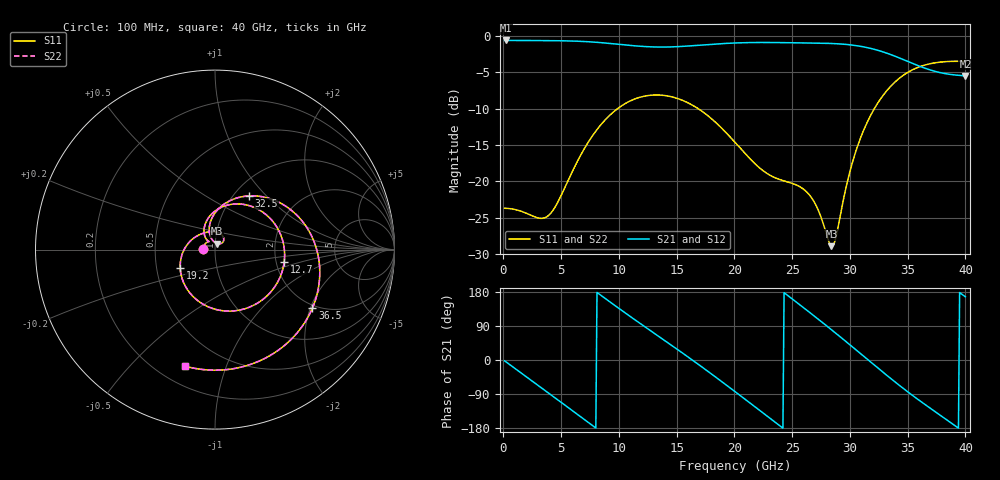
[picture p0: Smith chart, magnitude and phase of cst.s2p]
! C_s8_nfp: L1→L8, antipad Ø0.9, non-functional pads kept
! stackup: 8-layer 1.6 mm FR-4 (generic)
! ports: 1, 2
! CST Studio Suite 2025.5 Release from 2025-05-30, time domain (FIT, hexahedral, PBA), 154800 mesh cells, 35 s
! mesh: {'lpw': 20, 'lpb': 20, 'minstep': 0.0, 'ratio': 20}; ports: port 1 (face); port 2 (face)
! interpolated from CST's 1001 samples to the case grid
# Hz S RI R 50
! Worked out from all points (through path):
!   400 points, 100 MHz to 40 GHz, reference 50 ohm
!   highest |S21| = -0.59 dB at 200 MHz (marker M1); lowest = -5.5 dB at 40 GHz (marker M2)
!   group delay of S21, straight-line fit = 63.7 ps
!   lowest |S11| = -28.9 dB at 28.4 GHz (marker M3), VSWR 1.07, Z = 51.2 + j3.42 ohm
!   |S11| at or under -10 dB: start of sweep to 9.864 GHz; 16.88 GHz to 32.11 GHz (15.23 GHz wide, 62.2 % of centre)
!   |S22| runs from -28.9 to -3.5 dB; largest |S21 - S12| = 3.6e-07
!   S11 on the Smith chart (normalised r, x): 100 MHz: 0.88, +0.00; 12.7 GHz: 2.21, -0.36; 19.2 GHz: 0.66, -0.14; 32.5 GHz: 1.17, +0.80; 36.5 GHz: 1.89, -2.07; 40 GHz: 0.31, -0.73
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1e8  -0.0653 0.00274  0.9339 -0.0364  0.9339 -0.0364  -0.0653 0.00274
2e8  -0.0651 0.00546  0.9318 -0.0727  0.9318 -0.0727  -0.0651 0.00546
3.6e9  -0.0338 0.045  0.1555 -0.9196  0.1555 -0.9196  -0.0338 0.045
5.1e9  -0.0524 0.0647  -0.3794 -0.8488  -0.3794 -0.8488  -0.0524 0.0647
6.8e9  -0.052 0.1486  -0.8162 -0.426  -0.8162 -0.426  -0.052 0.1486
9.2e9  0.1285 0.2546  -0.7994 0.3951  -0.7994 0.3951  0.1285 0.2546
1.1e10  0.3238 0.1549  -0.3554 0.787  -0.3554 0.787  0.3238 0.1549
1.27e10  0.3855 -0.0697  0.1749 0.8266  0.1749 0.8266  0.3855 -0.0697
1.34e10  0.3567 -0.1663  0.3787 0.7519  0.3787 0.7519  0.3567 -0.1663
1.64e10  0.00556 -0.3337  0.8601 -0.0153  0.8601 -0.0153  0.00555 -0.3337
1.92e10  -0.1938 -0.1038  0.393 -0.8001  0.393 -0.8001  -0.1938 -0.1037
2.01e10  -0.1824 -0.024  0.0859 -0.8941  0.0859 -0.8941  -0.1824 -0.024
2.17e10  -0.1178 0.0644  -0.4738 -0.7706  -0.4738 -0.7706  -0.1178 0.0644
2.36e10  -0.0377 0.0983  -0.8768 -0.2204  -0.8768 -0.2204  -0.0377 0.0983
2.51e10  0.0163 0.095  -0.8409 0.3232  -0.8409 0.3232  0.0163 0.095
2.67e10  0.0488 0.0592  -0.4635 0.7684  -0.4635 0.7684  0.0488 0.0593
2.84e10  0.0131 0.0333  0.1551 0.8772  0.1551 0.8772  0.0131 0.0334
3.06e10  -0.0207 0.1678  0.7791 0.364  0.7791 0.364  -0.0207 0.1678
3.25e10  0.1911 0.2994  0.7324 -0.3118  0.7324 -0.3118  0.1911 0.2994
3.34e10  0.3505 0.2664  0.5285 -0.5377  0.5285 -0.5377  0.3505 0.2664
3.65e10  0.5422 -0.3271  -0.2769 -0.5343  -0.2769 -0.5343  0.5422 -0.3271
4e10  -0.1676 -0.6489  -0.519 0.1222  -0.519 0.1222  -0.1676 -0.6489
